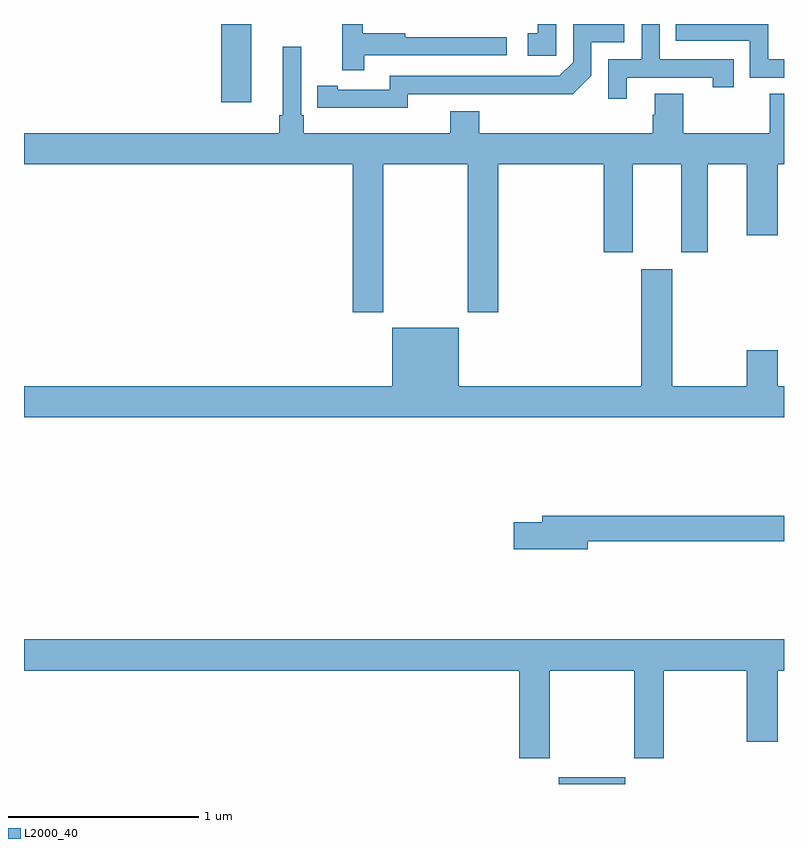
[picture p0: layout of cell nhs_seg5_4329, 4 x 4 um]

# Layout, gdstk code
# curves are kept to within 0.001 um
import gdstk
lib = gdstk.Library(unit=1e-6, precision=1e-09)
def R(c, l, rs):  # rectangles x0, y0, x1, y1
    for r in rs: c.add(gdstk.rectangle(r[:2], r[2:], *l))
def P(c, l, *ps):  # polygons
    for p in ps: c.add(gdstk.Polygon(p, *l))
L2000_40 = (2000, 40)

nhs_seg5_4329 = lib.new_cell('nhs_seg5_4329')
R(nhs_seg5_4329, L2000_40, [(367.814,886.799,368.164,886.834), (366.038,890.388,366.196,890.799)])
P(nhs_seg5_4329, L2000_40, [(367.8,890.799),(367.703,890.799),(367.703,890.751),(367.65,890.751),(367.65,890.631),(367.8,890.631)],
  [(369,890.613),(368.916,890.613),(368.916,890.799),(368.431,890.799),(368.431,890.712),(368.82,890.712),(368.82,890.517),(369,890.517)],
  [(368.173,890.517),(368.624,890.517),(368.624,890.466),(368.735,890.466),(368.735,890.613),(368.346,890.613),(368.346,890.799),(368.25,890.799),(368.25,890.613),(368.076,890.613),(368.076,890.406),(368.173,890.406)],
  [(367.02,890.43),(367.888,890.429),(367.986,890.526),(367.986,890.703),(368.16,890.703),(368.16,890.799),(367.89,890.799),(367.89,890.598),(367.818,890.526),(366.924,890.526),(366.924,890.454),(366.652,890.454),(366.652,890.474),(366.544,890.474),(366.544,890.358),(367.02,890.357)],
  [(366.791,890.634),(367.54,890.634),(367.54,890.73),(367.007,890.73),(367.007,890.75),(366.784,890.75),(366.784,890.799),(366.674,890.799),(366.674,890.556),(366.791,890.556)],
  [(366.891,890.06),(367.336,890.06),(367.336,889.281),(367.496,889.281),(367.496,890.06),(368.051,890.06),(368.051,889.599),(368.203,889.599),(368.203,890.06),(368.459,890.06),(368.459,889.599),(368.599,889.599),(368.599,890.06),(368.804,890.06),(368.804,889.686),(368.968,889.686),(368.968,890.06),(369,890.06),(369,890.432),(368.926,890.432),(368.926,890.224),(368.469,890.224),(368.469,890.432),(368.321,890.432),(368.321,890.322),(368.309,890.322),(368.309,890.224),(367.397,890.224),(367.397,890.341),(367.244,890.341),(367.244,890.224),(366.473,890.224),(366.473,890.32),(366.459,890.32),(366.459,890.68),(366.362,890.68),(366.362,890.32),(366.343,890.32),(366.343,890.224),(365,890.224),(365,890.06),(366.731,890.06),(366.731,889.281),(366.891,889.281)],
  [(369,888.892),(368.968,888.892),(368.968,889.081),(368.804,889.081),(368.804,888.892),(368.413,888.892),(368.413,889.507),(368.249,889.507),(368.249,888.892),(367.288,888.892),(367.288,889.201),(366.938,889.201),(366.938,888.892),(365,888.892),(365,888.728),(369,888.728)],
  [(367.966,888.076),(369,888.076),(369,888.212),(367.727,888.212),(367.727,888.176),(367.578,888.176),(367.578,888.034),(367.966,888.034)],
  [(367.767,887.396),(368.212,887.396),(368.212,886.935),(368.367,886.935),(368.367,887.396),(368.804,887.396),(368.804,887.022),(368.968,887.022),(368.968,887.396),(369,887.396),(369,887.56),(365,887.56),(365,887.396),(367.607,887.396),(367.607,886.935),(367.767,886.935)])

lib.write_gds('nhs_seg5_4329.gds')
